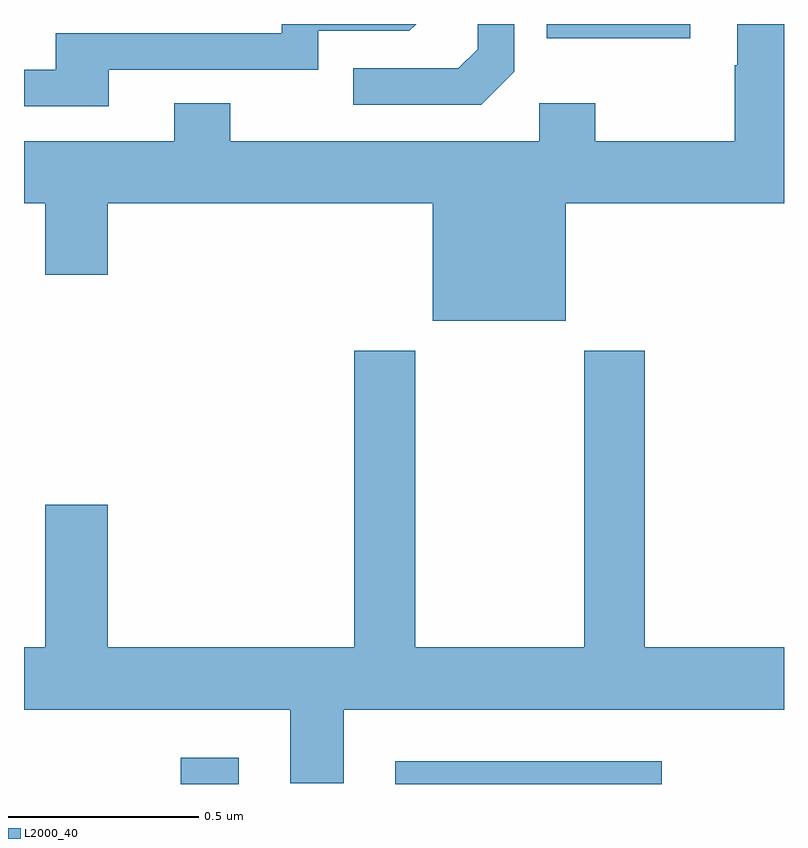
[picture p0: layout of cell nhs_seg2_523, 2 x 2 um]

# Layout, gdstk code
import gdstk
lib = gdstk.Library(unit=1e-6, precision=1e-09)
def R(c, l, rs):  # rectangles x0, y0, x1, y1
    for r in rs: c.add(gdstk.rectangle(r[:2], r[2:], *l))
def P(c, l, *ps):  # polygons
    for p in ps: c.add(gdstk.Polygon(p, *l))
L2000_40 = (2000, 40)

nhs_seg2_523 = lib.new_cell('nhs_seg2_523')
R(nhs_seg2_523, L2000_40, [(117.413,620.8,117.565,620.869), (117.977,620.8,118.678,620.86), (118.375,622.763,118.753,622.8)])
P(nhs_seg2_523, L2000_40, [(118.426,622.328),(119,622.328),(119,622.8),(118.877,622.8),(118.877,622.691),(118.87,622.691),(118.87,622.492),(118.503,622.492),(118.503,622.591),(118.356,622.591),(118.356,622.492),(117.543,622.492),(117.543,622.591),(117.395,622.591),(117.395,622.492),(117,622.492),(117,622.328),(117.056,622.328),(117.056,622.14),(117.22,622.14),(117.22,622.328),(118.076,622.328),(118.076,622.019),(118.426,622.019)],
  [(118.29,622.674),(118.29,622.8),(118.194,622.8),(118.194,622.734),(118.143,622.683),(117.867,622.683),(117.867,622.587),(118.203,622.587)],
  [(117.223,622.68),(117.774,622.68),(117.774,622.782),(118.014,622.782),(118.032,622.8),(117.678,622.8),(117.678,622.776),(117.083,622.776),(117.083,622.68),(117,622.68),(117,622.584),(117.223,622.584)],
  [(117.841,620.996),(119,620.996),(119,621.16),(118.634,621.16),(118.634,621.94),(118.474,621.94),(118.474,621.16),(118.029,621.16),(118.029,621.94),(117.869,621.94),(117.869,621.16),(117.22,621.16),(117.22,621.535),(117.056,621.535),(117.056,621.16),(117,621.16),(117,620.996),(117.701,620.996),(117.701,620.802),(117.841,620.802)])

lib.write_gds('nhs_seg2_523.gds')
